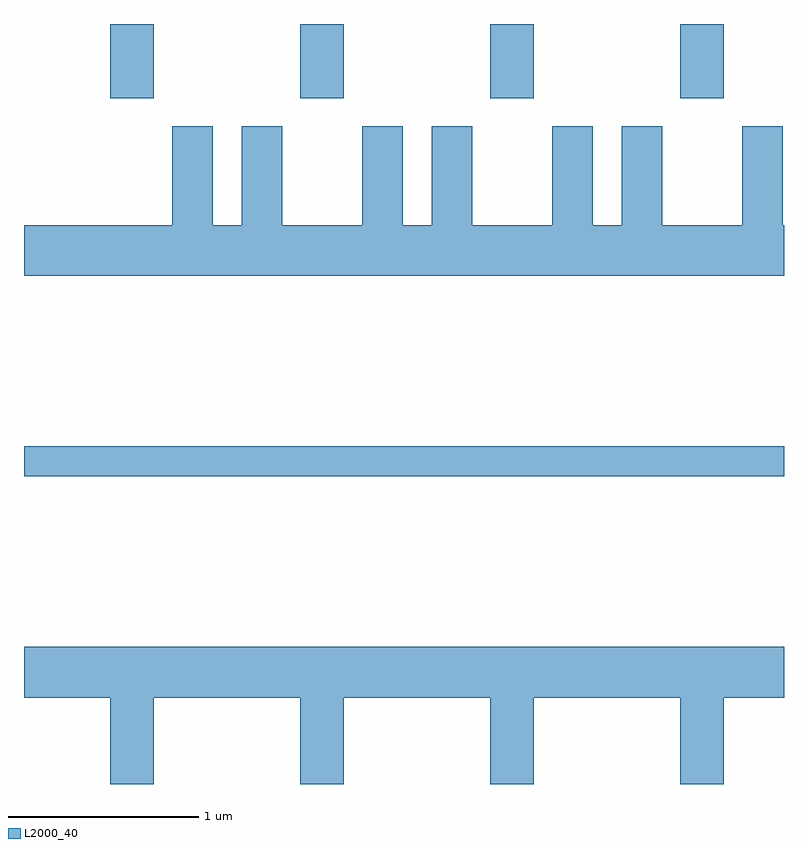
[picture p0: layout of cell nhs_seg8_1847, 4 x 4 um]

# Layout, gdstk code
import gdstk
lib = gdstk.Library(unit=1e-6, precision=1e-09)
def R(c, l, rs):  # rectangles x0, y0, x1, y1
    for r in rs: c.add(gdstk.rectangle(r[:2], r[2:], *l))
def A(c, l, x, y, w, h, nx, ny, dx, dy):  # array of equal rectangles
    R(c, l, [(x+i*dx, y+j*dy, x+i*dx+w, y+j*dy+h) for i in range(nx) for j in range(ny)])
def P(c, l, *ps):  # polygons
    for p in ps: c.add(gdstk.Polygon(p, *l))
L2000_40 = (2000, 40)

nhs_seg8_1847 = lib.new_cell('nhs_seg8_1847')
A(nhs_seg8_1847, L2000_40, 240.066, 1903.951, 0.228, 0.391, 4, 1, 1, 0)
R(nhs_seg8_1847, L2000_40, [(239.611,1901.961,243.611,1902.119)])
P(nhs_seg8_1847, L2000_40, [(243.611,1903.284),(243.604,1903.284),(243.604,1903.804),(243.391,1903.804),(243.391,1903.284),(242.969,1903.284),(242.969,1903.804),(242.756,1903.804),(242.756,1903.284),(242.604,1903.284),(242.604,1903.804),(242.391,1903.804),(242.391,1903.284),(241.969,1903.284),(241.969,1903.804),(241.756,1903.804),(241.756,1903.284),(241.604,1903.284),(241.604,1903.804),(241.391,1903.804),(241.391,1903.284),(240.969,1903.284),(240.969,1903.804),(240.756,1903.804),(240.756,1903.284),(240.604,1903.284),(240.604,1903.804),(240.391,1903.804),(240.391,1903.284),(239.611,1903.284),(239.611,1903.016),(243.611,1903.016)],
  [(239.611,1900.796),(240.066,1900.796),(240.066,1900.342),(240.294,1900.342),(240.294,1900.796),(241.066,1900.796),(241.066,1900.342),(241.294,1900.342),(241.294,1900.796),(242.066,1900.796),(242.066,1900.342),(242.294,1900.342),(242.294,1900.796),(243.066,1900.796),(243.066,1900.342),(243.294,1900.342),(243.294,1900.796),(243.611,1900.796),(243.611,1901.064),(239.611,1901.064)])

lib.write_gds('nhs_seg8_1847.gds')
